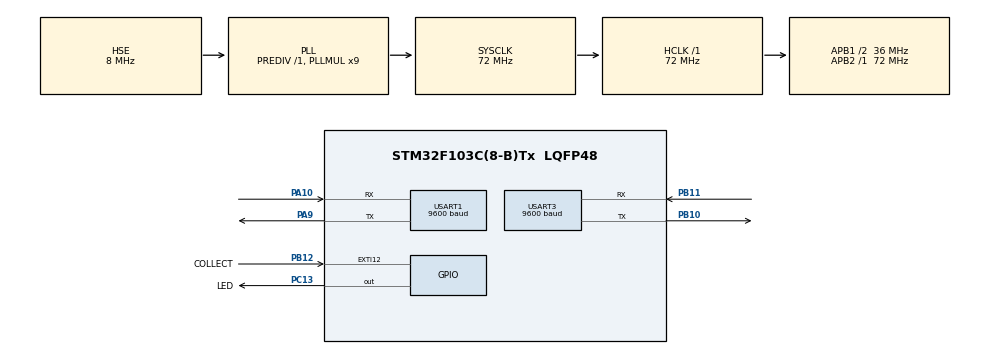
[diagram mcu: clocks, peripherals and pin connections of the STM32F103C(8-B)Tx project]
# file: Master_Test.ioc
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Mcu.Family=STM32F1
Mcu.Name=STM32F103C(8-B)Tx
Mcu.Package=LQFP48
NVIC.EXTI15_10_IRQn=true\:0\:0\:false\:false\:true\:true\:true\:true
NVIC.PriorityGroup=NVIC_PRIORITYGROUP_4
NVIC.USART1_IRQn=true\:0\:0\:false\:false\:true\:true\:true\:true
NVIC.USART3_IRQn=true\:0\:0\:false\:false\:true\:true\:true\:true
PA10.Mode=Asynchronous
PA10.Signal=USART1_RX
PA13.Mode=Serial_Wire
PA13.Signal=SYS_JTMS-SWDIO
PA14.Mode=Serial_Wire
PA14.Signal=SYS_JTCK-SWCLK
PA9.Mode=Asynchronous
PA9.Signal=USART1_TX
PB10.Mode=Asynchronous
PB10.Signal=USART3_TX
PB11.Mode=Asynchronous
PB11.Signal=USART3_RX
PB12.GPIO_Label=COLLECT
PB12.GPIO_ModeDefaultEXTI=GPIO_MODE_IT_FALLING
PB12.Signal=GPXTI12
PC13-TAMPER-RTC.GPIO_Label=LED
PC13-TAMPER-RTC.PinState=GPIO_PIN_SET
PC13-TAMPER-RTC.Signal=GPIO_Output
PD0-OSC_IN.Mode=HSE-External-Oscillator
PD0-OSC_IN.Signal=RCC_OSC_IN
PD1-OSC_OUT.Mode=HSE-External-Oscillator
PD1-OSC_OUT.Signal=RCC_OSC_OUT
ProjectManager.HeapSize=0x200
ProjectManager.StackSize=0x400
ProjectManager.TargetToolchain=STM32CubeIDE
RCC.AHBFreq_Value=72000000
RCC.APB1CLKDivider=RCC_HCLK_DIV2
RCC.APB1Freq_Value=36000000
RCC.APB1TimFreq_Value=72000000
RCC.APB2Freq_Value=72000000
RCC.APB2TimFreq_Value=72000000
RCC.HCLKFreq_Value=72000000
RCC.PLLMUL=RCC_PLL_MUL9
RCC.PLLSourceVirtual=RCC_PLLSOURCE_HSE
RCC.SYSCLKFreq_VALUE=72000000
RCC.SYSCLKSource=RCC_SYSCLKSOURCE_PLLCLK
RCC.USBFreq_Value=72000000
USART1.BaudRate=9600
USART1.VirtualMode=VM_ASYNC
USART3.BaudRate=9600
USART3.VirtualMode=VM_ASYNC
board=custom

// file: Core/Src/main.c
/* USER CODE BEGIN Header */
/**
  ******************************************************************************
  * @file           : main.c
  * @brief          : Main program body
  ******************************************************************************
  * @attention
  *
  * Copyright (c) 2026 STMicroelectronics.
  * All rights reserved.
  *
  * This software is licensed under terms that can be found in the LICENSE file
  * in the root directory of this software component.
  * If no LICENSE file comes with this software, it is provided AS-IS.
  *
  ******************************************************************************
  */
/* USER CODE END Header */
#include "main.h"

/* USER CODE BEGIN Includes */
#include "rs485_dummy_master.h"

#include <stdio.h>
#include <string.h>

/* USER CODE END Includes */

UART_HandleTypeDef huart1;
UART_HandleTypeDef huart3;

/* USER CODE BEGIN PV */

//button flags
volatile uint8_t collect_flag	= 0;

//debouncing time variable
uint32_t last_collect_time	= 0;

//debug
//uint8_t magic_raw[2] = {0};

//uint8_t 	send_count 		= 0;
//uint8_t 	collect_count	= 0;
//uint8_t	clear_count		= 0;
//uint8_t dbg_session_count		= 0;
//MasterRecord_t dbg_master_rec	= {0};
//char dbg_master_rx_str[64] = {0};

/* USER CODE END PV */

void SystemClock_Config(void);
static void MX_GPIO_Init(void);
static void MX_USART1_UART_Init(void);
static void MX_USART3_UART_Init(void);

int main(void)
{

  /* MCU Configuration--------------------------------------------------------*/

  /* Reset of all peripherals, Initializes the Flash interface and the Systick. */
  HAL_Init();

  /* Configure the system clock */
  SystemClock_Config();

  /* Initialize all configured peripherals */
  MX_GPIO_Init();
  MX_USART1_UART_Init();
  MX_USART3_UART_Init();
  /* USER CODE BEGIN 2 */

  //debug
//  HAL_Delay(500);
//  uint8_t test[] = "USART3_Test\r\n";
//  HAL_UART_Transmit(&huart3, test, sizeof(test)-1, 1000);
//  /* Wait to receive 4 bytes on USART3 — type "PING" in a serial terminal connected to PB11 */
//  uint8_t rx_test[4] = {0};
//  HAL_StatusTypeDef rx_status = HAL_UART_Receive(&huart3, rx_test, 4, 5000);
//
//  if(rx_status == HAL_OK)
//  {
//      HAL_UART_Transmit(&huart3, (uint8_t*)"RX_OK\r\n", 7, 500);
//  }
//  else
//  {
//      HAL_UART_Transmit(&huart3, (uint8_t*)"RX_FAIL\r\n", 9, 500);
//  }

  //RS485_Master_Init();

  //debug rs485
  RS485_Dummy_Master_Init();

  /* USER CODE END 2 */

  /* Infinite loop */
  /* USER CODE BEGIN WHILE */
  while (1)
  {
	  if(collect_flag)
	  {

		  collect_flag = 0;
		  HAL_GPIO_TogglePin(LED_GPIO_Port, LED_Pin);
		  RS485_Dummy_Master_Collect();
		  HAL_GPIO_TogglePin(LED_GPIO_Port, LED_Pin);

	  }

    /* USER CODE END WHILE */

  }
}

void SystemClock_Config(void)
{
  RCC_OscInitTypeDef RCC_OscInitStruct = {0};
  RCC_ClkInitTypeDef RCC_ClkInitStruct = {0};

  /** Initializes the RCC Oscillators according to the specified parameters
  * in the RCC_OscInitTypeDef structure.
  */
  RCC_OscInitStruct.OscillatorType = RCC_OSCILLATORTYPE_HSE;
  RCC_OscInitStruct.HSEState = RCC_HSE_ON;
  RCC_OscInitStruct.HSEPredivValue = RCC_HSE_PREDIV_DIV1;
  RCC_OscInitStruct.HSIState = RCC_HSI_ON;
  RCC_OscInitStruct.PLL.PLLState = RCC_PLL_ON;
  RCC_OscInitStruct.PLL.PLLSource = RCC_PLLSOURCE_HSE;
  RCC_OscInitStruct.PLL.PLLMUL = RCC_PLL_MUL9;
  if (HAL_RCC_OscConfig(&RCC_OscInitStruct) != HAL_OK)
  {
    Error_Handler();
  }

  /** Initializes the CPU, AHB and APB buses clocks
  */
  RCC_ClkInitStruct.ClockType = RCC_CLOCKTYPE_HCLK|RCC_CLOCKTYPE_SYSCLK
                              |RCC_CLOCKTYPE_PCLK1|RCC_CLOCKTYPE_PCLK2;
  RCC_ClkInitStruct.SYSCLKSource = RCC_SYSCLKSOURCE_PLLCLK;
  RCC_ClkInitStruct.AHBCLKDivider = RCC_SYSCLK_DIV1;
  RCC_ClkInitStruct.APB1CLKDivider = RCC_HCLK_DIV2;
  RCC_ClkInitStruct.APB2CLKDivider = RCC_HCLK_DIV1;

  if (HAL_RCC_ClockConfig(&RCC_ClkInitStruct, FLASH_LATENCY_2) != HAL_OK)
  {
    Error_Handler();
  }
}

static void MX_USART1_UART_Init(void)
{

  huart1.Instance = USART1;
  huart1.Init.BaudRate = 9600;
  huart1.Init.WordLength = UART_WORDLENGTH_8B;
  huart1.Init.StopBits = UART_STOPBITS_1;
  huart1.Init.Parity = UART_PARITY_NONE;
  huart1.Init.Mode = UART_MODE_TX_RX;
  huart1.Init.HwFlowCtl = UART_HWCONTROL_NONE;
  huart1.Init.OverSampling = UART_OVERSAMPLING_16;
  if (HAL_UART_Init(&huart1) != HAL_OK)
  {
    Error_Handler();
  }

}

static void MX_USART3_UART_Init(void)
{

  huart3.Instance = USART3;
  huart3.Init.BaudRate = 9600;
  huart3.Init.WordLength = UART_WORDLENGTH_8B;
  huart3.Init.StopBits = UART_STOPBITS_1;
  huart3.Init.Parity = UART_PARITY_NONE;
  huart3.Init.Mode = UART_MODE_TX_RX;
  huart3.Init.HwFlowCtl = UART_HWCONTROL_NONE;
  huart3.Init.OverSampling = UART_OVERSAMPLING_16;
  if (HAL_UART_Init(&huart3) != HAL_OK)
  {
    Error_Handler();
  }

}

static void MX_GPIO_Init(void)
{
  GPIO_InitTypeDef GPIO_InitStruct = {0};

  /* GPIO Ports Clock Enable */
  __HAL_RCC_GPIOC_CLK_ENABLE();
  __HAL_RCC_GPIOD_CLK_ENABLE();
  __HAL_RCC_GPIOB_CLK_ENABLE();
  __HAL_RCC_GPIOA_CLK_ENABLE();

  /*Configure GPIO pin Output Level */
  HAL_GPIO_WritePin(LED_GPIO_Port, LED_Pin, GPIO_PIN_SET);

  /*Configure GPIO pin : LED_Pin */
  GPIO_InitStruct.Pin = LED_Pin;
  GPIO_InitStruct.Mode = GPIO_MODE_OUTPUT_PP;
  GPIO_InitStruct.Pull = GPIO_NOPULL;
  GPIO_InitStruct.Speed = GPIO_SPEED_FREQ_LOW;
  HAL_GPIO_Init(LED_GPIO_Port, &GPIO_InitStruct);

  /*Configure GPIO pin : COLLECT_Pin */
  GPIO_InitStruct.Pin = COLLECT_Pin;
  GPIO_InitStruct.Mode = GPIO_MODE_IT_FALLING;
  GPIO_InitStruct.Pull = GPIO_NOPULL;
  HAL_GPIO_Init(COLLECT_GPIO_Port, &GPIO_InitStruct);

  /* EXTI interrupt init*/
  HAL_NVIC_SetPriority(EXTI15_10_IRQn, 0, 0);
  HAL_NVIC_EnableIRQ(EXTI15_10_IRQn);

}

/* USER CODE BEGIN 4 */

void HAL_UARTEx_RxEventCallback(UART_HandleTypeDef *huart, uint16_t size)
{

	if(huart->Instance == USART3)
	{

		RS485_Dummy_Master_RxCallback(size);

	}

}

void HAL_GPIO_EXTI_Callback(uint16_t GPIO_PIN)
{

	uint32_t now = HAL_GetTick();

	if(GPIO_PIN == GPIO_PIN_12)
	{

		if(now - last_collect_time > 500)
		{

			last_collect_time = now;
			collect_flag = 1;

		}

	}

}

/* USER CODE END 4 */

void Error_Handler(void)
{
  __disable_irq();
  while (1)
  {
  }
}
